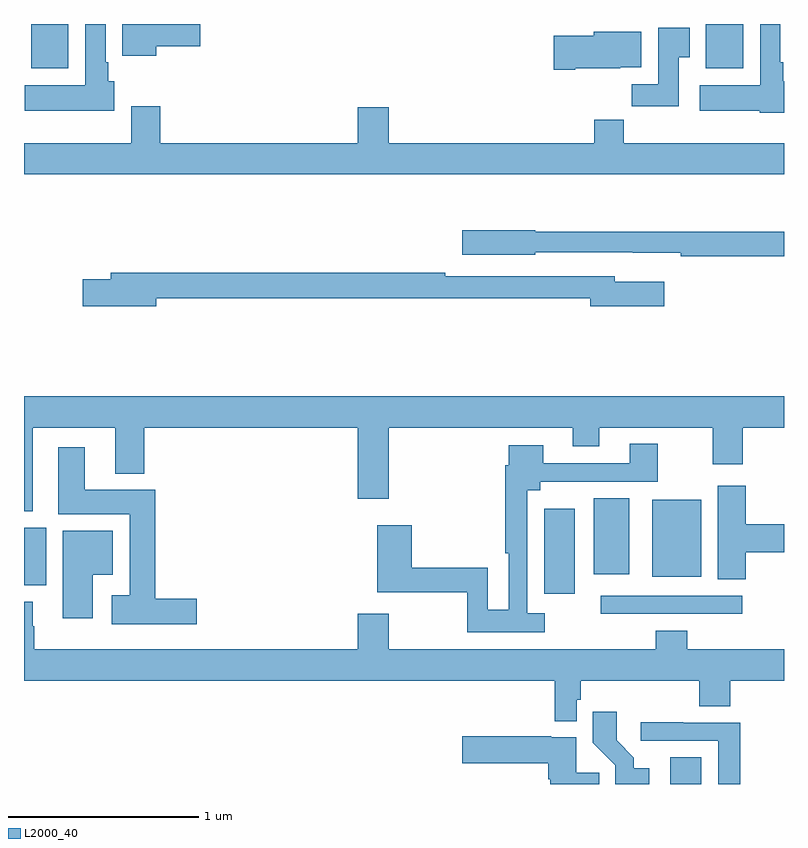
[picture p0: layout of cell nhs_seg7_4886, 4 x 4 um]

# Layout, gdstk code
import gdstk
lib = gdstk.Library(unit=1e-6, precision=1e-09)
def R(c, l, rs):  # rectangles x0, y0, x1, y1
    for r in rs: c.add(gdstk.rectangle(r[:2], r[2:], *l))
def P(c, l, *ps):  # polygons
    for p in ps: c.add(gdstk.Polygon(p, *l))
L2000_40 = (2000, 40)

nhs_seg7_4886 = lib.new_cell('nhs_seg7_4886')
R(nhs_seg7_4886, L2000_40, [(418.4,1072,418.564,1072.142), (418.035,1072.896,418.78,1072.992), (417.737,1073.001,417.898,1073.449), (415,1073.045,415.117,1073.35), (418.307,1073.09,418.564,1073.497), (417.998,1073.105,418.186,1073.503), (415.037,1075.766,415.234,1076), (418.589,1075.766,418.786,1076)])
P(nhs_seg7_4886, L2000_40, [(415.696,1075.883),(415.927,1075.883),(415.927,1076),(415.517,1076),(415.517,1075.832),(415.696,1075.832)],
  [(415.474,1075.698),(415.444,1075.698),(415.444,1075.798),(415.429,1075.798),(415.429,1076),(415.322,1076),(415.322,1075.678),(415.005,1075.678),(415.005,1075.544),(415.474,1075.544)],
  [(419,1075.698),(418.996,1075.698),(418.996,1075.798),(418.981,1075.798),(418.981,1076),(418.874,1076),(418.874,1075.678),(418.557,1075.678),(418.557,1075.544),(418.872,1075.544),(418.872,1075.532),(419,1075.532)],
  [(418.447,1075.825),(418.504,1075.825),(418.504,1075.981),(418.337,1075.981),(418.337,1075.684),(418.198,1075.684),(418.198,1075.566),(418.447,1075.566)],
  [(417.901,1075.766),(418.137,1075.766),(418.137,1075.772),(418.249,1075.772),(418.249,1075.96),(417.998,1075.96),(417.998,1075.937),(417.789,1075.937),(417.789,1075.759),(417.901,1075.759)],
  [(419,1075.372),(418.157,1075.372),(418.157,1075.496),(418.001,1075.496),(418.001,1075.372),(416.92,1075.372),(416.92,1075.561),(416.756,1075.561),(416.756,1075.372),(415.718,1075.372),(415.718,1075.567),(415.565,1075.567),(415.565,1075.372),(415,1075.372),(415,1075.208),(419,1075.208)],
  [(419,1074.907),(417.69,1074.907),(417.69,1074.915),(417.306,1074.915),(417.306,1074.785),(417.69,1074.785),(417.69,1074.798),(418.204,1074.798),(418.204,1074.797),(418.456,1074.797),(418.456,1074.778),(419,1074.778)],
  [(415.696,1074.556),(417.98,1074.556),(417.98,1074.514),(418.369,1074.514),(418.369,1074.643),(418.108,1074.643),(418.108,1074.672),(417.218,1074.672),(417.218,1074.692),(415.457,1074.692),(415.457,1074.656),(415.308,1074.656),(415.308,1074.514),(415.696,1074.514)],
  [(415,1073.435),(415.045,1073.435),(415.045,1073.876),(415.481,1073.876),(415.481,1073.633),(415.634,1073.633),(415.634,1073.876),(416.756,1073.876),(416.756,1073.502),(416.92,1073.502),(416.92,1073.876),(417.887,1073.876),(417.887,1073.777),(418.027,1073.777),(418.027,1073.876),(418.624,1073.876),(418.624,1073.682),(418.784,1073.682),(418.784,1073.876),(419,1073.876),(419,1074.04),(415,1074.04)],
  [(417.742,1072.9),(417.648,1072.9),(417.648,1073.546),(417.718,1073.546),(417.718,1073.592),(418.335,1073.592),(418.335,1073.791),(418.187,1073.791),(418.187,1073.688),(417.733,1073.688),(417.733,1073.782),(417.551,1073.782),(417.551,1073.678),(417.532,1073.678),(417.532,1073.215),(417.552,1073.215),(417.552,1072.916),(417.441,1072.916),(417.441,1073.138),(417.041,1073.138),(417.041,1073.362),(416.858,1073.362),(416.858,1073.01),(417.333,1073.01),(417.333,1072.8),(417.742,1072.8)],
  [(415.909,1072.976),(415.691,1072.976),(415.691,1073.548),(415.321,1073.548),(415.321,1073.773),(415.181,1073.773),(415.181,1073.42),(415.556,1073.42),(415.556,1072.993),(415.461,1072.993),(415.461,1072.841),(415.909,1072.841)],
  [(418.799,1073.219),(419,1073.219),(419,1073.366),(418.799,1073.366),(418.799,1073.569),(418.652,1073.569),(418.652,1073.077),(418.799,1073.077)],
  [(415.363,1073.102),(415.468,1073.102),(415.468,1073.332),(415.205,1073.332),(415.205,1072.872),(415.363,1072.872)],
  [(417.909,1072.443),(417.929,1072.443),(417.929,1072.544),(418.553,1072.544),(418.553,1072.408),(418.718,1072.408),(418.718,1072.544),(419,1072.544),(419,1072.708),(418.49,1072.708),(418.49,1072.807),(418.325,1072.807),(418.325,1072.708),(416.92,1072.708),(416.92,1072.897),(416.756,1072.897),(416.756,1072.708),(415.053,1072.708),(415.053,1072.829),(415.045,1072.829),(415.045,1072.96),(415,1072.96),(415,1072.544),(417.793,1072.544),(417.793,1072.331),(417.909,1072.331)],
  [(418.291,1072.084),(418.21,1072.084),(418.21,1072.139),(418.12,1072.229),(418.12,1072.381),(417.994,1072.381),(417.994,1072.218),(418.113,1072.099),(418.113,1072),(418.291,1072)],
  [(418.769,1072.323),(418.469,1072.323),(418.469,1072.326),(418.245,1072.326),(418.245,1072.227),(418.653,1072.227),(418.653,1072),(418.769,1072)],
  [(418.028,1072.058),(417.907,1072.058),(417.907,1072.246),(417.774,1072.246),(417.774,1072.251),(417.306,1072.251),(417.306,1072.109),(417.758,1072.109),(417.758,1072.025),(417.77,1072.025),(417.77,1072),(418.028,1072)])

lib.write_gds('nhs_seg7_4886.gds')
